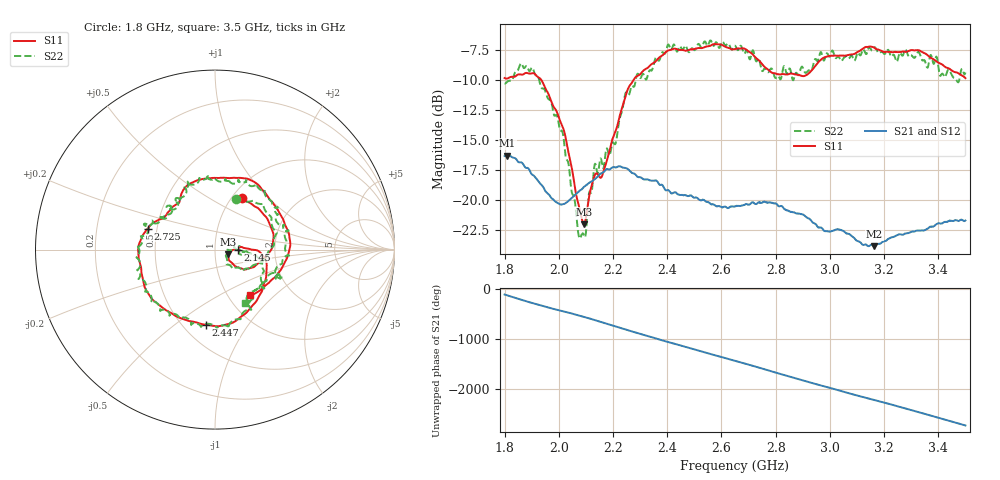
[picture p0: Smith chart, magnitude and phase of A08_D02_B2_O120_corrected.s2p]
! Created with skrf 1.9.0 (http://scikit-rf.org).
# Hz S RI R 50.0
!freq ReS11 ImS11 ReS21 ImS21 ReS12 ImS12 ReS22 ImS22
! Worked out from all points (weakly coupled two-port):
!   1601 points, 1.8 GHz to 3.5 GHz, reference 50 ohm
!   highest |S21| = -16.32 dB at 1.81 GHz (marker M1); lowest = -23.9 dB at 3.164 GHz (marker M2)
!   lowest |S11| = -22.1 dB at 2.092 GHz (marker M3), VSWR 1.17, Z = 58 - j2.98 ohm
!   |S11| at or under -10 dB: 1.935 GHz to 2.276 GHz (340.9 MHz wide, 16.2 % of centre)
!   |S22| runs from -23.3 to -6.7 dB; largest |S21 - S12| = 0.0026
!   S11 on the Smith chart (normalised r, x): 1.8 GHz: 1.12, +0.71; 2.145 GHz: 1.29, +0.00; 2.447 GHz: 0.65, -0.66; 2.725 GHz: 0.44, +0.12; 3.5 GHz: 1.26, -0.72
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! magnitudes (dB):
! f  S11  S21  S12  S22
! 1.8 GHz  -9.8  -16.4  -16.4  -10.3
! 1.81 GHz  -9.9  -16.3  -16.3  -10.2
! 1.902 GHz  -9.4  -17.9  -17.9  -9.0
! 1.968 GHz  -11.5  -19.7  -19.8  -11.7
! 2.02 GHz  -14.3  -20.4  -20.4  -15.4
! 2.084 GHz  -21.5  -19.2  -19.1  -22.9
! 2.092 GHz  -22.1  -18.9  -19.0  -23.0
! 2.13 GHz  -18.1  -18.3  -18.3  -17.3
! 2.145 GHz  -17.9  -18.0  -18.0  -17.7
! 2.208 GHz  -14.4  -17.3  -17.3  -15.4
! 2.259 GHz  -10.6  -17.5  -17.5  -11.2
! 2.367 GHz  -8.2  -18.6  -18.6  -8.4
! 2.447 GHz  -7.5  -19.6  -19.6  -7.2
! 2.65 GHz  -7.4  -20.6  -20.5  -7.1
! 2.725 GHz  -8.1  -20.4  -20.3  -8.3
! 2.81 GHz  -9.5  -20.5  -20.4  -9.7
! 2.934 GHz  -9.2  -21.8  -21.8  -9.2
! 3.164 GHz  -7.3  -23.9  -23.8  -7.3
! 3.217 GHz  -7.7  -23.3  -23.2  -7.6
! 3.33 GHz  -7.5  -22.6  -22.6  -7.7
! 3.415 GHz  -8.7  -22.0  -21.9  -9.5
! 3.5 GHz  -9.9  -21.7  -21.7  -9.4
